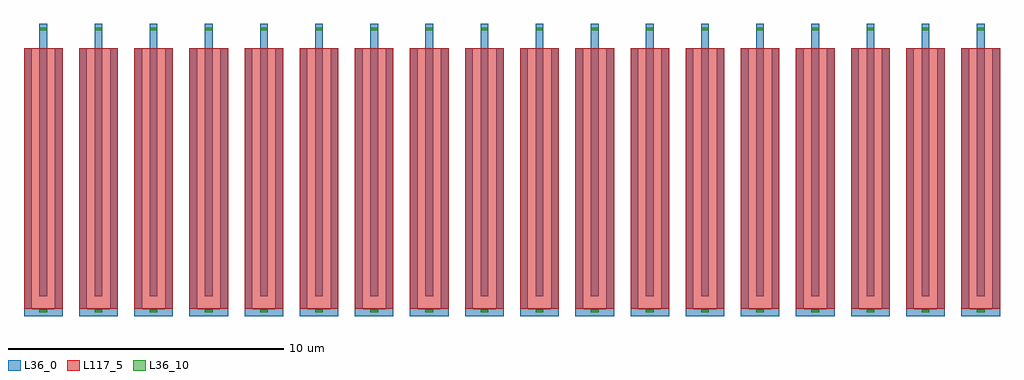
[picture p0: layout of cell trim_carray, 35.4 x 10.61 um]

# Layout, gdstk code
import gdstk
lib = gdstk.Library(unit=1e-6, precision=1e-09)
def R(c, l, rs):  # rectangles x0, y0, x1, y1
    for r in rs: c.add(gdstk.rectangle(r[:2], r[2:], *l))
L36_0 = (36, 0)
L36_10 = (36, 10)
L117_5 = (117, 5)

cap_unit = lib.new_cell('cap_unit')
R(cap_unit, L36_0, [(1.98,-0.862,3.38,-0.582), (1.98,-0.582,2.26,8.858), (1.98,-0.582,2.26,8.858), (3.1,-0.582,3.38,8.858), (3.1,-0.582,3.38,8.858), (2.54,-0.142,2.82,9.75)])
R(cap_unit, L36_10, [(2.54,-0.721,2.82,-0.621), (2.54,9.508,2.82,9.608)])
R(cap_unit, L117_5, [(1.98,-0.582,3.38,8.858)])
cap_unit.add(gdstk.Label('out', (2.68,-0.671), layer=36, texttype=10))
cap_unit.add(gdstk.Label('in', (2.68,9.699), layer=36, texttype=10))

trim_carray = lib.new_cell('trim_carray')
trim_carray.add(gdstk.Reference(cap_unit, (-2.68,-4.278)))
trim_carray.add(gdstk.Reference(cap_unit, (-0.68,-4.278)))
trim_carray.add(gdstk.Reference(cap_unit, (1.32,-4.278)))
trim_carray.add(gdstk.Reference(cap_unit, (3.32,-4.278)))
trim_carray.add(gdstk.Reference(cap_unit, (5.32,-4.278)))
trim_carray.add(gdstk.Reference(cap_unit, (7.32,-4.278)))
trim_carray.add(gdstk.Reference(cap_unit, (9.32,-4.278)))
trim_carray.add(gdstk.Reference(cap_unit, (11.32,-4.278)))
trim_carray.add(gdstk.Reference(cap_unit, (13.32,-4.278)))
trim_carray.add(gdstk.Reference(cap_unit, (15.32,-4.278)))
trim_carray.add(gdstk.Reference(cap_unit, (17.32,-4.278)))
trim_carray.add(gdstk.Reference(cap_unit, (19.32,-4.278)))
trim_carray.add(gdstk.Reference(cap_unit, (21.32,-4.278)))
trim_carray.add(gdstk.Reference(cap_unit, (23.32,-4.278)))
trim_carray.add(gdstk.Reference(cap_unit, (25.32,-4.278)))
trim_carray.add(gdstk.Reference(cap_unit, (27.32,-4.278)))
trim_carray.add(gdstk.Reference(cap_unit, (29.32,-4.278)))
trim_carray.add(gdstk.Reference(cap_unit, (31.32,-4.278)))

lib.write_gds('trim_carray.gds')
